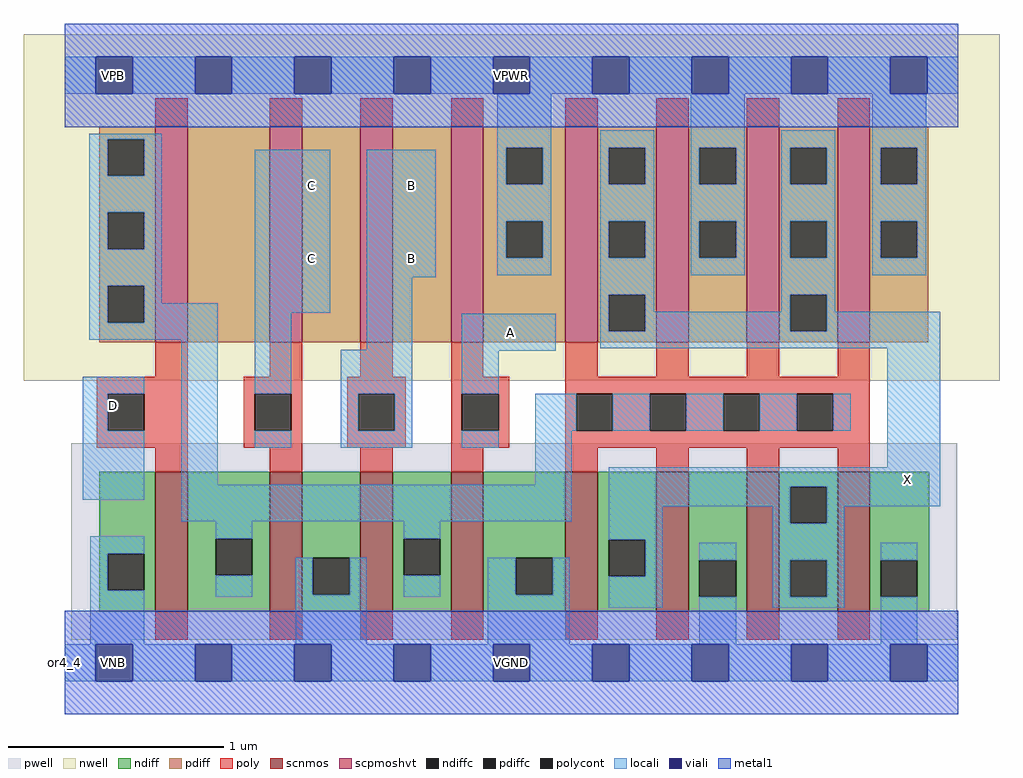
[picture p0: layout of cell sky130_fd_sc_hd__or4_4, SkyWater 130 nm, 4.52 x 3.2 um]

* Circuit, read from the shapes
.subckt sky130_fd_sc_hd__or4_4 A B C D VGND VNB VPB VPWR X
XM1 n1 D VGND VNB sky130_fd_pr__nfet_01v8 w=0.65 l=0.15
XM2 VGND C n1 VNB sky130_fd_pr__nfet_01v8 w=0.65 l=0.15
XM3 n1 B VGND VNB sky130_fd_pr__nfet_01v8 w=0.65 l=0.15
XM4 VGND A n1 VNB sky130_fd_pr__nfet_01v8 w=0.65 l=0.15
XM5 X n1 VGND VNB sky130_fd_pr__nfet_01v8 w=0.65 l=0.15 m=4
XM6 n2 D n1 VPB sky130_fd_pr__pfet_01v8_hvt w=1 l=0.15
XM7 n3 C n2 VPB sky130_fd_pr__pfet_01v8_hvt w=1 l=0.15
XM8 n4 B n3 VPB sky130_fd_pr__pfet_01v8_hvt w=1 l=0.15
XM9 VPWR A n4 VPB sky130_fd_pr__pfet_01v8_hvt w=1 l=0.15
XM10 X n1 VPWR VPB sky130_fd_pr__pfet_01v8_hvt w=1 l=0.15 m=4
.ends

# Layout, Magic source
magic
tech sky130B
magscale 1 2
<< nwell >>
rect -38 261 866 582
<< pwell >>
rect 6 21 827 203
rect 28 -17 62 21
<< scnmos >>
rect 84 47 114 177
rect 190 47 220 177
rect 274 47 304 177
rect 358 47 388 177
rect 464 47 494 177
rect 548 47 578 177
rect 632 47 662 177
rect 716 47 746 177
<< scpmoshvt >>
rect 84 297 114 497
rect 190 297 220 497
rect 274 297 304 497
rect 358 297 388 497
rect 464 297 494 497
rect 548 297 578 497
rect 632 297 662 497
rect 716 297 746 497
<< ndiff >>
rect 32 101 84 177
rect 32 67 40 101
rect 74 67 84 101
rect 32 47 84 67
rect 114 115 190 177
rect 114 81 140 115
rect 174 81 190 115
rect 114 47 190 81
rect 220 97 274 177
rect 220 63 230 97
rect 264 63 274 97
rect 220 47 274 63
rect 304 115 358 177
rect 304 81 314 115
rect 348 81 358 115
rect 304 47 358 81
rect 388 97 464 177
rect 388 63 418 97
rect 452 63 464 97
rect 388 47 464 63
rect 494 114 548 177
rect 494 80 504 114
rect 538 80 548 114
rect 494 47 548 80
rect 578 95 632 177
rect 578 61 588 95
rect 622 61 632 95
rect 578 47 632 61
rect 662 163 716 177
rect 662 129 672 163
rect 706 129 716 163
rect 662 95 716 129
rect 662 61 672 95
rect 706 61 716 95
rect 662 47 716 61
rect 746 95 801 177
rect 746 61 756 95
rect 790 61 801 95
rect 746 47 801 61
<< pdiff >>
rect 32 485 84 497
rect 32 451 40 485
rect 74 451 84 485
rect 32 417 84 451
rect 32 383 40 417
rect 74 383 84 417
rect 32 349 84 383
rect 32 315 40 349
rect 74 315 84 349
rect 32 297 84 315
rect 114 297 190 497
rect 220 297 274 497
rect 304 297 358 497
rect 388 477 464 497
rect 388 443 409 477
rect 443 443 464 477
rect 388 409 464 443
rect 388 375 409 409
rect 443 375 464 409
rect 388 297 464 375
rect 494 477 548 497
rect 494 443 504 477
rect 538 443 548 477
rect 494 409 548 443
rect 494 375 504 409
rect 538 375 548 409
rect 494 341 548 375
rect 494 307 504 341
rect 538 307 548 341
rect 494 297 548 307
rect 578 477 632 497
rect 578 443 588 477
rect 622 443 632 477
rect 578 409 632 443
rect 578 375 588 409
rect 622 375 632 409
rect 578 297 632 375
rect 662 477 716 497
rect 662 443 672 477
rect 706 443 716 477
rect 662 409 716 443
rect 662 375 672 409
rect 706 375 716 409
rect 662 341 716 375
rect 662 307 672 341
rect 706 307 716 341
rect 662 297 716 307
rect 746 477 800 497
rect 746 443 756 477
rect 790 443 800 477
rect 746 409 800 443
rect 746 375 756 409
rect 790 375 800 409
rect 746 297 800 375
<< ndiffc >>
rect 40 67 74 101
rect 140 81 174 115
rect 230 63 264 97
rect 314 81 348 115
rect 418 63 452 97
rect 504 80 538 114
rect 588 61 622 95
rect 672 129 706 163
rect 672 61 706 95
rect 756 61 790 95
<< pdiffc >>
rect 40 451 74 485
rect 40 383 74 417
rect 40 315 74 349
rect 409 443 443 477
rect 409 375 443 409
rect 504 443 538 477
rect 504 375 538 409
rect 504 307 538 341
rect 588 443 622 477
rect 588 375 622 409
rect 672 443 706 477
rect 672 375 706 409
rect 672 307 706 341
rect 756 443 790 477
rect 756 375 790 409
<< poly >>
rect 84 497 114 523
rect 190 497 220 523
rect 274 497 304 523
rect 358 497 388 523
rect 464 497 494 523
rect 548 497 578 523
rect 632 497 662 523
rect 716 497 746 523
rect 84 265 114 297
rect 190 265 220 297
rect 274 265 304 297
rect 358 265 388 297
rect 464 265 494 297
rect 548 265 578 297
rect 632 265 662 297
rect 716 265 746 297
rect 30 249 114 265
rect 30 215 40 249
rect 74 215 114 249
rect 30 199 114 215
rect 166 249 220 265
rect 166 215 176 249
rect 210 215 220 249
rect 166 199 220 215
rect 262 249 316 265
rect 262 215 272 249
rect 306 215 316 249
rect 262 199 316 215
rect 358 249 412 265
rect 358 215 368 249
rect 402 215 412 249
rect 358 199 412 215
rect 464 249 746 265
rect 464 215 474 249
rect 508 215 542 249
rect 576 215 610 249
rect 644 215 678 249
rect 712 215 746 249
rect 464 199 746 215
rect 84 177 114 199
rect 190 177 220 199
rect 274 177 304 199
rect 358 177 388 199
rect 464 177 494 199
rect 548 177 578 199
rect 632 177 662 199
rect 716 177 746 199
rect 84 21 114 47
rect 190 21 220 47
rect 274 21 304 47
rect 358 21 388 47
rect 464 21 494 47
rect 548 21 578 47
rect 632 21 662 47
rect 716 21 746 47
<< polycont >>
rect 40 215 74 249
rect 176 215 210 249
rect 272 215 306 249
rect 368 215 402 249
rect 474 215 508 249
rect 542 215 576 249
rect 610 215 644 249
rect 678 215 712 249
<< locali >>
rect 0 527 29 561
rect 63 527 121 561
rect 155 527 213 561
rect 247 527 305 561
rect 339 527 397 561
rect 431 527 489 561
rect 523 527 581 561
rect 615 527 673 561
rect 707 527 765 561
rect 799 527 828 561
rect 23 485 90 490
rect 23 451 40 485
rect 74 451 90 485
rect 401 477 451 527
rect 23 417 90 451
rect 23 383 40 417
rect 74 383 90 417
rect 23 349 90 383
rect 23 315 40 349
rect 74 333 90 349
rect 74 315 142 333
rect 23 299 142 315
rect 17 249 74 265
rect 17 215 40 249
rect 17 151 74 215
rect 108 165 142 299
rect 176 324 246 475
rect 280 357 344 475
rect 401 443 409 477
rect 443 443 451 477
rect 401 409 451 443
rect 401 375 409 409
rect 443 375 451 409
rect 401 359 451 375
rect 496 477 546 493
rect 496 443 504 477
rect 538 443 546 477
rect 496 409 546 443
rect 496 375 504 409
rect 538 375 546 409
rect 176 249 210 324
rect 280 290 322 357
rect 496 341 546 375
rect 580 477 630 527
rect 580 443 588 477
rect 622 443 630 477
rect 580 409 630 443
rect 580 375 588 409
rect 622 375 630 409
rect 580 359 630 375
rect 664 477 714 493
rect 664 443 672 477
rect 706 443 714 477
rect 664 409 714 443
rect 664 375 672 409
rect 706 375 714 409
rect 176 199 210 215
rect 256 249 322 290
rect 256 215 272 249
rect 306 215 322 249
rect 256 199 322 215
rect 368 289 455 323
rect 496 307 504 341
rect 538 325 546 341
rect 664 341 714 375
rect 748 477 798 527
rect 748 443 756 477
rect 790 443 798 477
rect 748 409 798 443
rect 748 375 756 409
rect 790 375 798 409
rect 748 359 798 375
rect 664 325 672 341
rect 538 307 672 325
rect 706 325 714 341
rect 706 307 811 325
rect 496 291 811 307
rect 368 249 402 289
rect 368 199 402 215
rect 436 215 474 249
rect 508 215 542 249
rect 576 215 610 249
rect 644 215 678 249
rect 712 215 728 249
rect 436 165 470 215
rect 762 181 811 291
rect 108 131 470 165
rect 504 163 811 181
rect 504 145 672 163
rect 24 101 74 117
rect 24 67 40 101
rect 24 17 74 67
rect 140 115 174 131
rect 314 115 348 131
rect 140 61 174 81
rect 214 63 230 97
rect 264 63 280 97
rect 214 17 280 63
rect 504 114 554 145
rect 314 61 348 81
rect 392 63 418 97
rect 452 63 468 97
rect 392 17 468 63
rect 538 80 554 114
rect 656 129 672 145
rect 706 145 811 163
rect 706 129 722 145
rect 504 51 554 80
rect 588 95 622 111
rect 588 17 622 61
rect 656 95 722 129
rect 656 61 672 95
rect 706 61 722 95
rect 656 51 722 61
rect 756 95 790 111
rect 756 17 790 61
rect 0 -17 29 17
rect 63 -17 121 17
rect 155 -17 213 17
rect 247 -17 305 17
rect 339 -17 397 17
rect 431 -17 489 17
rect 523 -17 581 17
rect 615 -17 673 17
rect 707 -17 765 17
rect 799 -17 828 17
<< viali >>
rect 29 527 63 561
rect 121 527 155 561
rect 213 527 247 561
rect 305 527 339 561
rect 397 527 431 561
rect 489 527 523 561
rect 581 527 615 561
rect 673 527 707 561
rect 765 527 799 561
rect 29 -17 63 17
rect 121 -17 155 17
rect 213 -17 247 17
rect 305 -17 339 17
rect 397 -17 431 17
rect 489 -17 523 17
rect 581 -17 615 17
rect 673 -17 707 17
rect 765 -17 799 17
<< metal1 >>
rect 0 561 828 592
rect 0 527 29 561
rect 63 527 121 561
rect 155 527 213 561
rect 247 527 305 561
rect 339 527 397 561
rect 431 527 489 561
rect 523 527 581 561
rect 615 527 673 561
rect 707 527 765 561
rect 799 527 828 561
rect 0 496 828 527
rect 0 17 828 48
rect 0 -17 29 17
rect 63 -17 121 17
rect 155 -17 213 17
rect 247 -17 305 17
rect 339 -17 397 17
rect 431 -17 489 17
rect 523 -17 581 17
rect 615 -17 673 17
rect 707 -17 765 17
rect 799 -17 828 17
rect 0 -48 828 -17
<< labels >>
flabel locali s 304 425 338 459 0 FreeSans 400 0 0 0 B
port 2 nsew signal input
flabel locali s 304 357 338 391 0 FreeSans 400 0 0 0 B
port 2 nsew signal input
flabel locali s 212 357 246 391 0 FreeSans 400 0 0 0 C
port 3 nsew signal input
flabel locali s 396 289 430 323 0 FreeSans 400 0 0 0 A
port 1 nsew signal input
flabel locali s 212 425 246 459 0 FreeSans 400 0 0 0 C
port 3 nsew signal input
flabel locali s 28 221 62 255 0 FreeSans 400 0 0 0 D
port 4 nsew signal input
flabel locali s 764 153 798 187 0 FreeSans 400 0 0 0 X
port 9 nsew signal output
flabel pwell s 28 -17 62 17 0 FreeSans 200 0 0 0 VNB
port 6 nsew ground bidirectional
flabel nwell s 28 527 62 561 0 FreeSans 200 0 0 0 VPB
port 7 nsew power bidirectional
flabel metal1 s 28 527 62 561 0 FreeSans 200 0 0 0 VPWR
port 8 nsew power bidirectional abutment
flabel metal1 s 28 -17 62 17 0 FreeSans 200 0 0 0 VGND
port 5 nsew ground bidirectional abutment
rlabel comment s 0 0 0 0 4 or4_4
rlabel metal1 s 0 -48 828 48 1 VGND
port 5 nsew ground bidirectional abutment
rlabel metal1 s 0 496 828 592 1 VPWR
port 8 nsew power bidirectional abutment
<< properties >>
string FIXED_BBOX 0 0 828 544
string GDS_END 1068202
string GDS_FILE $PDKPATH/libs.ref/sky130_fd_sc_hd/gds/sky130_fd_sc_hd.gds
string GDS_START 1060956
string LEFclass CORE
string LEFsite unithd
string LEFsymmetry X Y R90
string path 0.000 0.000 4.140 0.000 
<< end >>
